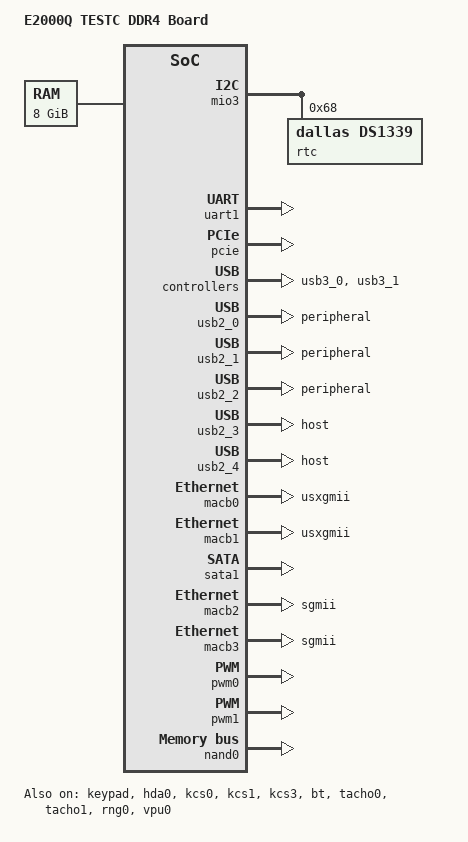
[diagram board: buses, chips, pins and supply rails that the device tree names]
// SPDX-License-Identifier: GPL-2.0
/*
 * DTS file for Phytium E2000Q test board
 *
 * Copyright (C) 2022, Phytium Technology Co., Ltd.
 *
 * This program is free software; you can redistribute it and/or
 * modify it under the terms of the GNU General Public License as
 * published by the Free Software Foundation; either version 2 of
 * the License, or (at your option) any later version.
 */

/dts-v1/;
/memreserve/ 0x80000000 0x10000;

#include "e2000q.dtsi"

/{
	model = "E2000Q TESTC DDR4 Board";
	compatible = "phytium,e2000q";

	chosen {
		stdout-path = "serial1:115200n8";
	};

	memory@00{
		device_type = "memory";
		reg = <0x0 0x80000000 0x2 0x00000000>;
	};
};

&soc {
	mio3: i2c@2801a000 {
		compatible = "phytium,i2c";
		reg = <0x0 0x2801a000 0x0 0x1000>;
		interrupts = <GIC_SPI 95 IRQ_TYPE_LEVEL_HIGH>;
		clocks = <&sysclk_50mhz>;
		#address-cells = <1>;
		#size-cells = <0>;
		status = "okay";

		rtc@68 {
			compatible = "dallas,ds1339";
			reg = <0x68>;
		};
	};
};

&uart1 {
	status = "okay";
};

&pcie {
	status = "okay";
};

&usb3_0 {
	status = "okay";
};

&usb3_1 {
	status = "okay";
};

&usb2_0 {
	dr_mode = "peripheral";
	status = "okay";
};

&usb2_1 {
	dr_mode = "peripheral";
	status = "okay";
};

&usb2_2 {
	dr_mode = "peripheral";
	status = "okay";
};

&usb2_3 {
	dr_mode = "host";
	status = "okay";
};

&usb2_4 {
	dr_mode = "host";
	status = "okay";
};

&macb0 {
	phy-mode = "usxgmii";
	status = "okay";
};

&macb1 {
	phy-mode = "usxgmii";
	status = "okay";
};

&sata1 {
	status = "okay";
};

&macb2 {
	phy-mode = "sgmii";
	use-mii;
	status = "okay";
};

&macb3 {
	phy-mode = "sgmii";
	use-mii;
	status = "okay";
};

/*
 * A Keypad can be customized by users. For example,
 * users can configure a 8*8 keypad:
 * - keypad,num-rows = <8>;
 * - keypad,num-columns = <8>;
 * - keymap:
 *   - The highest one byte represents the row
 *   - The second byte represents the columns
 *   - The lowest two bytes represent the key value
 *
 * Please refer to include/uapi/linux/input-event-codes.h
 * for key-value definitions.
 */
&keypad {
	keypad,num-rows = <4>;
	keypad,num-columns = <4>;
	linux,keymap = <0x00000012	/* KEY_E          */
			0x00010013	/* KEY_R          */
			0x00020014	/* KEY_T          */
			0x00030066	/* KEY_HOME       */
			0x01000020	/* KEY_D          */
			0x01010021	/* KEY_F          */
			0x01020022	/* KEY_G          */
			0x010300e7	/* KEY_SEND       */
			0x0200002d	/* KEY_X          */
			0x0201002e	/* KEY_C          */
			0x0202002f	/* KEY_V          */
			0x0203006b	/* KEY_END        */
			0x0300002c	/* KEY_Z          */
			0x0301004e	/* KEY_KPLUS      */
			0x03020030	/* KEY_B          */
			0x0303003b>;	/* KEY_F1	  */
	status = "okay";
};

&hda0 {
	status = "okay";
};

&kcs0 {
	kcs_chan = <1>;
	kcs_addr = <0xca0>;
	status = "okay";
};

&kcs1 {
	kcs_chan = <2>;
	kcs_addr = <0xca8>;
	status = "okay";
};

&kcs3 {
	kcs_chan = <4>;
	kcs_addr = <0xcb0>;
	status = "okay";
};

&bt {
	status = "okay";
};

&pwm0 {
	phytium,db = <0 0 0 0 0 0>;
	status = "okay";
};

&pwm1 {
	phytium,db = <0 0 0 1000 1000 0>;
	status = "okay";
};

&tacho0 {
	status = "okay";
};

&tacho1 {
	status = "okay";
};

&nand0 {
	nand-bus-width = <8>;
	nand-ecc-mode = "hw";
	nand-ecc-strength = <8>;
	nand-ecc-step-size = <512>;

	status = "okay";
};

&rng0 {
	status = "okay";
};

&vpu0 {
    status = "okay";
};
